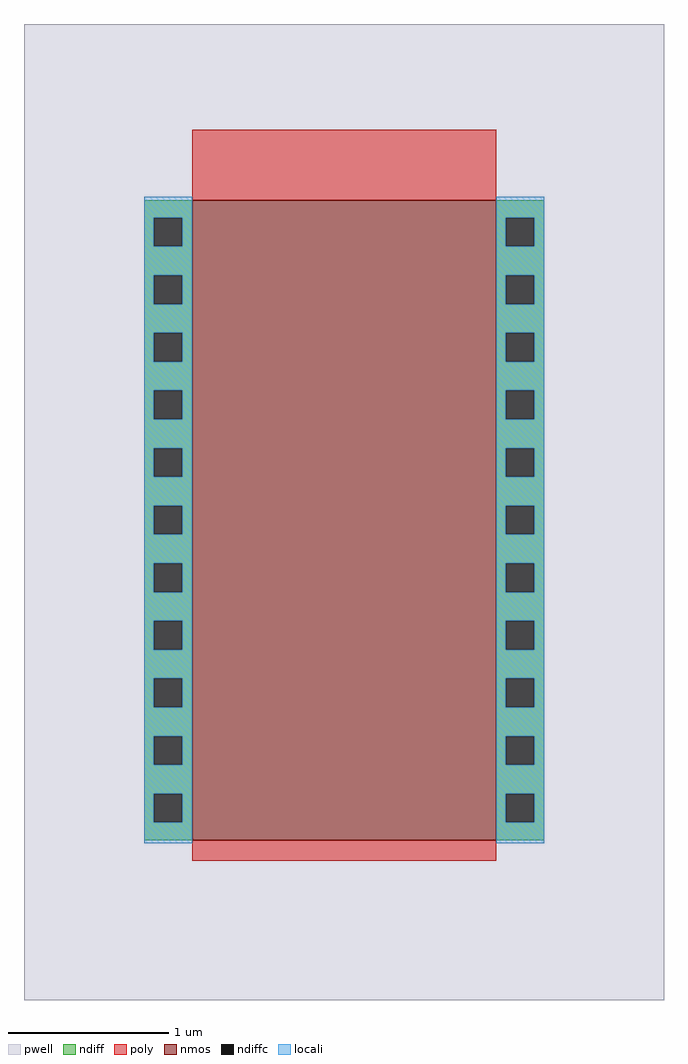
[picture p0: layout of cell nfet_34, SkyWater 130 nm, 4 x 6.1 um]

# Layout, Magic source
magic
tech sky130A
<< pwell >>
rect 0 0 400 610
<< nmos >>
rect 105 100 295 500
<< ndiff >>
rect 75 489 105 500
rect 75 471 81 489
rect 99 471 105 489
rect 75 453 105 471
rect 75 435 81 453
rect 99 435 105 453
rect 75 417 105 435
rect 75 399 81 417
rect 99 399 105 417
rect 75 381 105 399
rect 75 363 81 381
rect 99 363 105 381
rect 75 345 105 363
rect 75 327 81 345
rect 99 327 105 345
rect 75 309 105 327
rect 75 291 81 309
rect 99 291 105 309
rect 75 273 105 291
rect 75 255 81 273
rect 99 255 105 273
rect 75 237 105 255
rect 75 219 81 237
rect 99 219 105 237
rect 75 201 105 219
rect 75 183 81 201
rect 99 183 105 201
rect 75 165 105 183
rect 75 147 81 165
rect 99 147 105 165
rect 75 129 105 147
rect 75 111 81 129
rect 99 111 105 129
rect 75 100 105 111
rect 295 489 325 500
rect 295 471 301 489
rect 319 471 325 489
rect 295 453 325 471
rect 295 435 301 453
rect 319 435 325 453
rect 295 417 325 435
rect 295 399 301 417
rect 319 399 325 417
rect 295 381 325 399
rect 295 363 301 381
rect 319 363 325 381
rect 295 345 325 363
rect 295 327 301 345
rect 319 327 325 345
rect 295 309 325 327
rect 295 291 301 309
rect 319 291 325 309
rect 295 273 325 291
rect 295 255 301 273
rect 319 255 325 273
rect 295 237 325 255
rect 295 219 301 237
rect 319 219 325 237
rect 295 201 325 219
rect 295 183 301 201
rect 319 183 325 201
rect 295 165 325 183
rect 295 147 301 165
rect 319 147 325 165
rect 295 129 325 147
rect 295 111 301 129
rect 319 111 325 129
rect 295 100 325 111
<< ndiffc >>
rect 81 471 99 489
rect 81 435 99 453
rect 81 399 99 417
rect 81 363 99 381
rect 81 327 99 345
rect 81 291 99 309
rect 81 255 99 273
rect 81 219 99 237
rect 81 183 99 201
rect 81 147 99 165
rect 81 111 99 129
rect 301 471 319 489
rect 301 435 319 453
rect 301 399 319 417
rect 301 363 319 381
rect 301 327 319 345
rect 301 291 319 309
rect 301 255 319 273
rect 301 219 319 237
rect 301 183 319 201
rect 301 147 319 165
rect 301 111 319 129
<< poly >>
rect 105 500 295 544
rect 105 87 295 100
<< locali >>
rect 75 489 105 502
rect 75 471 81 489
rect 99 471 105 489
rect 75 453 105 471
rect 75 435 81 453
rect 99 435 105 453
rect 75 417 105 435
rect 75 399 81 417
rect 99 399 105 417
rect 75 381 105 399
rect 75 363 81 381
rect 99 363 105 381
rect 75 345 105 363
rect 75 327 81 345
rect 99 327 105 345
rect 75 309 105 327
rect 75 291 81 309
rect 99 291 105 309
rect 75 273 105 291
rect 75 255 81 273
rect 99 255 105 273
rect 75 237 105 255
rect 75 219 81 237
rect 99 219 105 237
rect 75 201 105 219
rect 75 183 81 201
rect 99 183 105 201
rect 75 165 105 183
rect 75 147 81 165
rect 99 147 105 165
rect 75 129 105 147
rect 75 111 81 129
rect 99 111 105 129
rect 75 98 105 111
rect 295 489 325 502
rect 295 471 301 489
rect 319 471 325 489
rect 295 453 325 471
rect 295 435 301 453
rect 319 435 325 453
rect 295 417 325 435
rect 295 399 301 417
rect 319 399 325 417
rect 295 381 325 399
rect 295 363 301 381
rect 319 363 325 381
rect 295 345 325 363
rect 295 327 301 345
rect 319 327 325 345
rect 295 309 325 327
rect 295 291 301 309
rect 319 291 325 309
rect 295 273 325 291
rect 295 255 301 273
rect 319 255 325 273
rect 295 237 325 255
rect 295 219 301 237
rect 319 219 325 237
rect 295 201 325 219
rect 295 183 301 201
rect 319 183 325 201
rect 295 165 325 183
rect 295 147 301 165
rect 319 147 325 165
rect 295 129 325 147
rect 295 111 301 129
rect 319 111 325 129
rect 295 98 325 111
<< end >>
